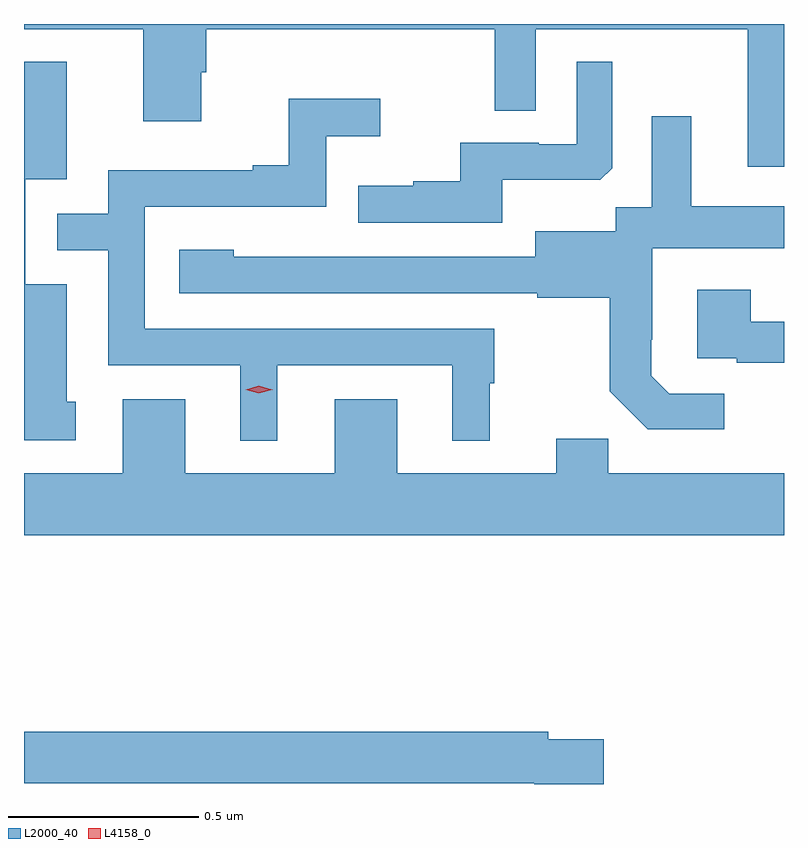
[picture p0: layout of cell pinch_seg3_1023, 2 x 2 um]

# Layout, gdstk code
import gdstk
lib = gdstk.Library(unit=1e-6, precision=1e-09)
def P(c, l, *ps):  # polygons
    for p in ps: c.add(gdstk.Polygon(p, *l))
L2000_40 = (2000, 40)
L4158_0 = (4158, 0)

pinch_seg3_1023 = lib.new_cell('pinch_seg3_1023')
P(pinch_seg3_1023, L2000_40, [(412.851,699.584),(413.165,699.584),(413.165,699.342),(413.317,699.342),(413.317,699.471),(413.33,699.471),(413.33,699.584),(414.09,699.584),(414.09,699.37),(414.198,699.37),(414.198,699.584),(414.755,699.584),(414.755,699.222),(414.851,699.222),(414.851,699.598),(412.851,699.598)],
  [(412.987,698.604),(412.963,698.604),(412.963,698.913),(412.854,698.913),(412.854,699.189),(412.963,699.189),(412.963,699.499),(412.851,699.499),(412.851,698.502),(412.987,698.502)],
  [(414.109,699.188),(414.367,699.188),(414.399,699.219),(414.399,699.499),(414.306,699.499),(414.306,699.282),(414.206,699.282),(414.206,699.285),(413.999,699.285),(413.999,699.184),(413.875,699.184),(413.875,699.172),(413.731,699.172),(413.731,699.075),(414.109,699.075)],
  [(413.518,698.7),(413.978,698.7),(413.978,698.501),(414.076,698.501),(414.076,698.652),(414.088,698.652),(414.088,698.796),(413.169,698.796),(413.169,699.117),(413.646,699.117),(413.646,699.302),(413.788,699.302),(413.788,699.401),(413.548,699.401),(413.548,699.226),(413.453,699.226),(413.453,699.213),(413.073,699.213),(413.073,699.099),(412.939,699.099),(412.939,699.003),(413.073,699.003),(413.073,698.7),(413.42,698.7),(413.42,698.501),(413.518,698.501)],
  [(414.694,698.625),(414.549,698.625),(414.502,698.672),(414.502,698.767),(414.504,698.767),(414.504,699.008),(414.851,699.008),(414.851,699.118),(414.607,699.118),(414.607,699.355),(414.503,699.355),(414.503,699.116),(414.408,699.116),(414.408,699.052),(414.197,699.052),(414.197,698.985),(413.639,698.985),(413.639,698.986),(413.403,698.986),(413.403,699.004),(413.259,699.004),(413.259,698.889),(414.201,698.889),(414.201,698.877),(414.393,698.877),(414.393,698.631),(414.493,698.531),(414.694,698.531)],
  [(414.851,698.814),(414.763,698.814),(414.763,698.899),(414.623,698.899),(414.623,698.718),(414.727,698.718),(414.727,698.706),(414.851,698.706)],
  [(414.851,698.416),(414.389,698.416),(414.389,698.507),(414.251,698.507),(414.251,698.416),(413.833,698.416),(413.833,698.611),(413.669,698.611),(413.669,698.416),(413.275,698.416),(413.275,698.611),(413.111,698.611),(413.111,698.416),(412.851,698.416),(412.851,698.252),(414.851,698.252)],
  [(414.377,697.716),(414.23,697.716),(414.23,697.736),(412.851,697.736),(412.851,697.6),(414.194,697.6),(414.194,697.598),(414.377,697.598)])
P(pinch_seg3_1023, L4158_0, [(413.469,698.626),(413.434,698.636),(413.433,698.636),(413.434,698.636),(413.469,698.646),(413.504,698.636),(413.505,698.636),(413.504,698.636)])

lib.write_gds('pinch_seg3_1023.gds')
